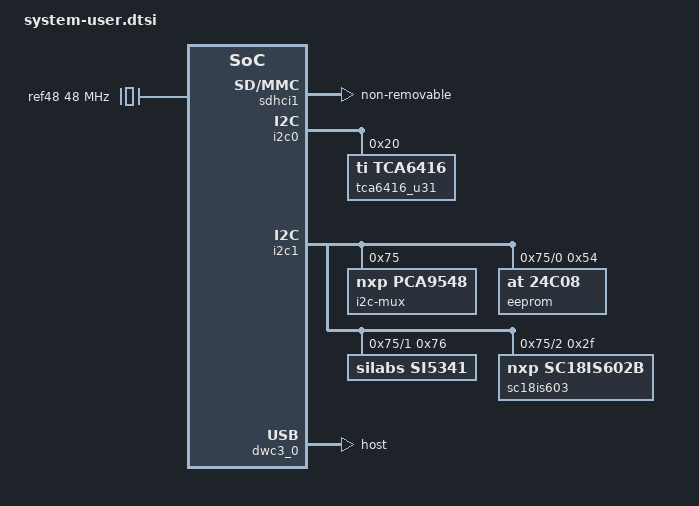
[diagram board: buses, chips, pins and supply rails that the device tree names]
/*
 * write by Guoping Chen
 * 8th, June, 2024
 * add  L65 - L81： 	i2c@0 ...
 * 
 * add L180 - L183: 	enable usb3
 *
 *
*/

/include/ "system-conf.dtsi"
/ {
	/* 48MHz reference crystal */
	ref48: ref48M {
		compatible = "fixed-clock";
		#clock-cells = <0>;
		clock-frequency = <48000000>;
	};
};

&sdhci1 {
	u-boot,dm-pre-reloc;
	non-removable;
	disable-wp;
	no-1-8-v; /* for 1.0 silicon */
	cap-sd-highspeed;
	sd-uhs-sdr12;
	sd-uhs-sdr25;
	sd-uhs-sdr50;
	sd-uhs-ddr50;
	keep-power-in-suspend;
	xlnx,mio_bank = <1>;
	};



&i2c0 {

	/* for U31 TCA6416A   */
	tca6416_u31: gpio@20 {	 /* address 0b100000 */
		compatible = "ti,tca6416";
		reg = <0x20>;
		gpio-controller; /* interrupt not connected */
		#gpio-cells = <2>;
		/*
		 * IRQ not connected
		 * Lines:
		 * 5 - IIC_MUX_RESET_B
		 * 6 - GEM3_EXP_RESET_B
		 * 11 - CLK_SPI_MUX_SEL0
		 * 12 - CLK_SPI_MUX_SEL1
		 * other - not connected
		 */
	};


};

&i2c1 {
	i2c-mux@75 { /* tca9548apwr  rfsoc27dr @u35 address = 0b1110101; zcu111 @u26 address = 0b1110100= 0x74*/
		compatible = "nxp,pca9548"; /* driver name is pca9548, chip name is tca9548 */
 		#address-cells = <1>;
		#size-cells = <0>;
		reg = <0x75>;
		i2c@0 { /* i2c mw 74 0 1 */
			#address-cells = <1>;
			#size-cells = <0>;
			reg = <0>;
			/*
			 * IIC_EEPROM 1kB memory which uses 256B blocks
			 * where every block has different address.
			 *    0 - 256B address 0x54
			 * 256B - 512B address 0x55
			 * 512B - 768B address 0x56
			 * 768B - 1024B address 0x57
			 */
			eeprom: eeprom@54 { /* u88 */
				compatible = "at,24c08";
				reg = <0x54>;
			};
		};

		i2c@1 {
			#address-cells = <1>;
			#size-cells = <0>;
			reg = <1>;
			si5341: clock-generator@76 { /* SI5341 rfsoc27dr @u23 address = 11101 A1 A0 = 1110110 = 0x76; zcu111 @u46 address =0x76*/
				compatible = "silabs,si5341";
				reg = <0x76>;
				#clock-cells = <2>;
				#address-cells = <1>;
				#size-cells = <0>;
				clocks = <&ref48>;
				clock-names = "xtal";
				clock-output-names = "si5341";

				si5341_0: out@0 {
					/* refclk0 for PS-GT, used for DP */
					reg = <0>;
					always-on; /* assigned-clocks does not enable, so do it here */
				};
				si5341_2: out@2 {
					/* refclk2 for PS-GT, used for USB3 */
					reg = <2>;
					always-on; /* assigned-clocks does not enable, so do it here */
				};
				si5341_3: out@3 {
					/* refclk3 for PS-GT, used for SATA */
					reg = <3>;
					always-on; /* assigned-clocks does not enable, so do it here */
				};
				si5341_5: out@5 {
					/* refclk5 PL CLK100 */
					reg = <5>;
					always-on; /* assigned-clocks does not enable, so do it here */
				};
				si5341_6: out@6 {
					/* refclk6 PL CLK125 */
					reg = <6>;
					always-on; /* assigned-clocks does not enable, so do it here */
				};
				si5341_9: out@9 {
					/* refclk9 used for PS_REF_CLK 33.3 MHz */
					reg = <9>;
					always-on; /* assigned-clocks does not enable, so do it here */
				};
			};

		};


		i2c@2 { /* rfsoc27dr@2; zcu111 @5 */
			#address-cells = <1>;
			#size-cells = <0>;
			reg = <2>;
				sc18is603@2f { /* sc18is602 rfsoc27dr @u36 address = 101 A2 A1 A0 = 101111 = 0x2f; zcu111 @u93  address = 0x2f*/
					compatible = "nxp,sc18is602b";
					reg = <0x2f>;
					#address-cells = <0x1>;
					#size-cells = <0x0>;
					lmxC@0 {
							compatible = "ti,lmx2594";
							reg = <0x0>;
							spi-max-frequency = <400000>;
							num_bytes = <4>;
							};
					lmk@1 {
							compatible = "ti,lmk04208";
							reg = <0x1>;
							spi-max-frequency = <400000>;
							num_bytes = <4>;
							};
					lmxB@2 {
							compatible = "ti,lmx2594";
							reg = <0x2>;
							spi-max-frequency = <400000>;
							num_bytes = <4>;
							};
					lmxA@3 {
							compatible = "ti,lmx2594";
							reg = <0x3>;
							spi-max-frequency = <400000>;
							num_bytes = <4>;
							};
				};
		};

		/* i2c@3 PS_DDR4_SODIMM; i2c@4 sfp3; i2c@5 sfp2; i2c@6 sfp1; i2c@7 sfp0 */
	};


};


&psgtr {
	/* nc, dp, usb3, sata */
	clocks = <&si5341 0 0>, <&si5341 0 2>, <&si5341 0 3>;
	clock-names = "ref1", "ref2", "ref3";
};
/* enable usb3 */
&dwc3_0 {
	dr_mode = "host";
};




